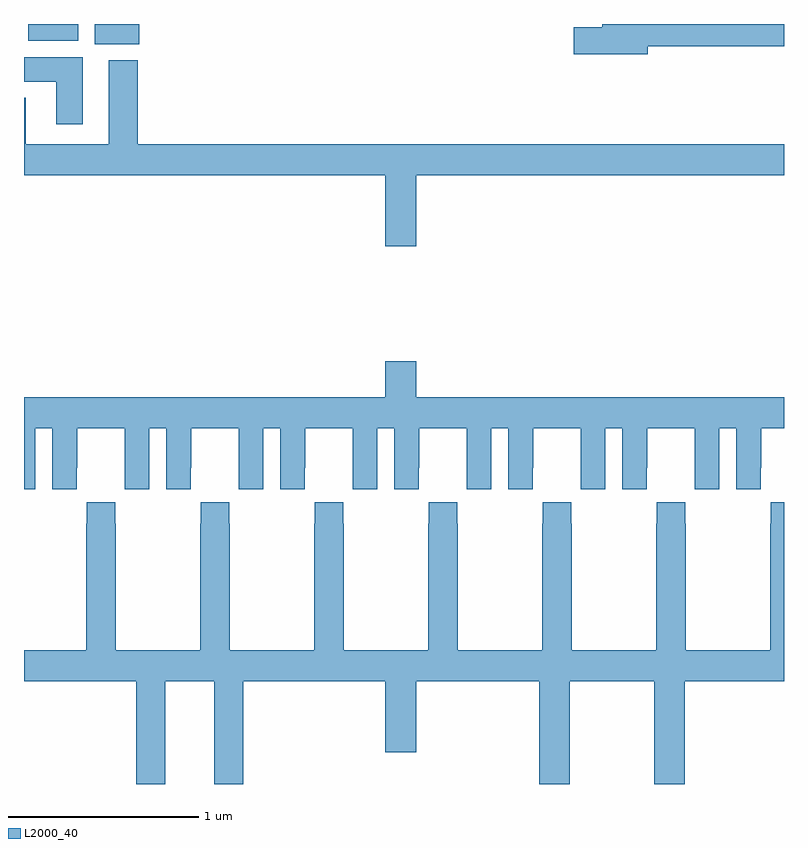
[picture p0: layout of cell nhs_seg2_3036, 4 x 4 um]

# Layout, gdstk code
import gdstk
lib = gdstk.Library(unit=1e-6, precision=1e-09)
def R(c, l, rs):  # rectangles x0, y0, x1, y1
    for r in rs: c.add(gdstk.rectangle(r[:2], r[2:], *l))
def P(c, l, *ps):  # polygons
    for p in ps: c.add(gdstk.Polygon(p, *l))
L2000_40 = (2000, 40)

nhs_seg2_3036 = lib.new_cell('nhs_seg2_3036')
R(nhs_seg2_3036, L2000_40, [(271.373,613.694,271.606,613.8), (271.022,613.712,271.285,613.8)])
P(nhs_seg2_3036, L2000_40, [(274.282,613.684),(275,613.684),(275,613.8),(274.043,613.8),(274.043,613.784),(273.894,613.784),(273.894,613.642),(274.282,613.642)],
  [(271.309,613.624),(271,613.624),(271,613.496),(271.169,613.496),(271.169,613.272),(271.309,613.272)],
  [(273.064,613.004),(275,613.004),(275,613.168),(271.598,613.168),(271.598,613.609),(271.445,613.609),(271.445,613.168),(271.009,613.168),(271.009,613.411),(271,613.411),(271,613.004),(272.9,613.004),(272.9,612.63),(273.064,612.63)],
  [(271,611.352),(271.06,611.352),(271.06,611.672),(271.148,611.672),(271.148,611.352),(271.278,611.352),(271.278,611.464),(271.279,611.464),(271.279,611.672),(271.529,611.672),(271.529,611.464),(271.53,611.464),(271.53,611.352),(271.66,611.352),(271.66,611.672),(271.748,611.672),(271.748,611.352),(271.878,611.352),(271.878,611.464),(271.879,611.464),(271.879,611.672),(272.129,611.672),(272.129,611.464),(272.13,611.464),(272.13,611.352),(272.26,611.352),(272.26,611.672),(272.348,611.672),(272.348,611.352),(272.478,611.352),(272.478,611.464),(272.479,611.464),(272.479,611.672),(272.729,611.672),(272.729,611.464),(272.73,611.464),(272.73,611.352),(272.86,611.352),(272.86,611.672),(272.948,611.672),(272.948,611.352),(273.078,611.352),(273.078,611.464),(273.079,611.464),(273.079,611.672),(273.329,611.672),(273.329,611.464),(273.33,611.464),(273.33,611.352),(273.46,611.352),(273.46,611.672),(273.548,611.672),(273.548,611.352),(273.678,611.352),(273.678,611.464),(273.679,611.464),(273.679,611.672),(273.929,611.672),(273.929,611.464),(273.93,611.464),(273.93,611.352),(274.06,611.352),(274.06,611.672),(274.148,611.672),(274.148,611.352),(274.278,611.352),(274.278,611.464),(274.279,611.464),(274.279,611.672),(274.529,611.672),(274.529,611.464),(274.53,611.464),(274.53,611.352),(274.66,611.352),(274.66,611.672),(274.748,611.672),(274.748,611.352),(274.878,611.352),(274.878,611.464),(274.879,611.464),(274.879,611.672),(275,611.672),(275,611.836),(273.064,611.836),(273.064,612.025),(272.9,612.025),(272.9,611.836),(271,611.836)],
  [(274.329,611.171),(274.327,611.171),(274.327,610.504),(273.882,610.504),(273.882,611.171),(273.879,611.171),(273.879,611.284),(273.729,611.284),(273.729,611.171),(273.727,611.171),(273.727,610.504),(273.282,610.504),(273.282,611.171),(273.279,611.171),(273.279,611.284),(273.129,611.284),(273.129,611.171),(273.127,611.171),(273.127,610.504),(272.682,610.504),(272.682,611.171),(272.679,611.171),(272.679,611.284),(272.529,611.284),(272.529,611.171),(272.527,611.171),(272.527,610.504),(272.082,610.504),(272.082,611.171),(272.079,611.171),(272.079,611.284),(271.929,611.284),(271.929,611.171),(271.927,611.171),(271.927,610.504),(271.482,610.504),(271.482,611.171),(271.479,611.171),(271.479,611.284),(271.329,611.284),(271.329,611.171),(271.327,611.171),(271.327,610.504),(271,610.504),(271,610.34),(271.592,610.34),(271.592,609.8),(271.744,609.8),(271.744,610.34),(272,610.34),(272,609.8),(272.153,609.8),(272.153,610.34),(272.9,610.34),(272.9,609.966),(273.064,609.966),(273.064,610.34),(273.713,610.34),(273.713,609.8),(273.873,609.8),(273.873,610.34),(274.318,610.34),(274.318,609.8),(274.478,609.8),(274.478,610.34),(275,610.34),(275,611.284),(274.929,611.284),(274.929,611.171),(274.927,611.171),(274.927,610.504),(274.482,610.504),(274.482,611.171),(274.479,611.171),(274.479,611.284),(274.329,611.284)])

lib.write_gds('nhs_seg2_3036.gds')
